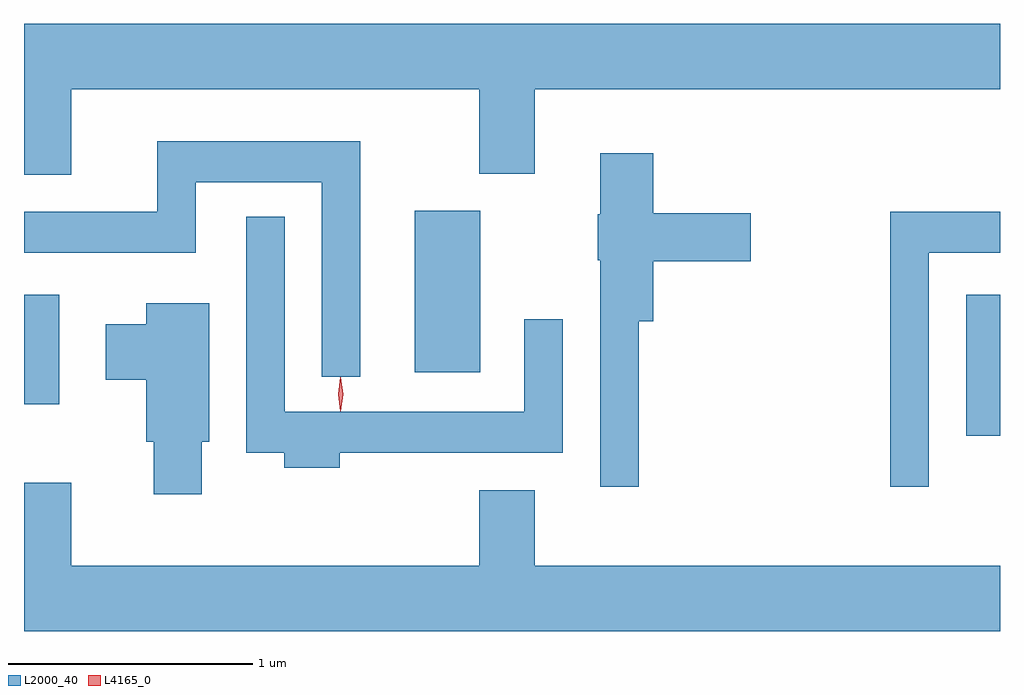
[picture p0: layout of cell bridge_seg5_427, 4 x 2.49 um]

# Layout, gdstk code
import gdstk
lib = gdstk.Library(unit=1e-6, precision=1e-09)
def R(c, l, rs):  # rectangles x0, y0, x1, y1
    for r in rs: c.add(gdstk.rectangle(r[:2], r[2:], *l))
def P(c, l, *ps):  # polygons
    for p in ps: c.add(gdstk.Polygon(p, *l))
L2000_40 = (2000, 40)
L4165_0 = (4165, 0)

bridge_seg5_427 = lib.new_cell('bridge_seg5_427')
R(bridge_seg5_427, L2000_40, [(386.976,1490.896,387.115,1491.474), (383.115,1491.026,383.259,1491.474), (384.716,1491.156,384.984,1491.819)])
P(bridge_seg5_427, L2000_40, [(383.309,1492.316),(384.981,1492.316),(384.981,1491.971),(385.209,1491.971),(385.209,1492.316),(387.115,1492.316),(387.115,1492.584),(383.115,1492.584),(383.115,1491.966),(383.309,1491.966)],
  [(384.494,1492.104),(383.661,1492.104),(383.661,1491.814),(383.115,1491.814),(383.115,1491.646),(383.819,1491.646),(383.819,1491.936),(384.336,1491.936),(384.336,1491.138),(384.494,1491.138)],
  [(385.634,1491.366),(385.694,1491.366),(385.694,1491.611),(386.094,1491.611),(386.094,1491.809),(385.694,1491.809),(385.694,1492.054),(385.476,1492.054),(385.476,1491.805),(385.466,1491.805),(385.466,1491.615),(385.476,1491.615),(385.476,1490.688),(385.634,1490.688)],
  [(386.824,1491.646),(387.115,1491.646),(387.115,1491.814),(386.666,1491.814),(386.666,1490.688),(386.824,1490.688)],
  [(384.409,1490.826),(385.324,1490.826),(385.324,1491.373),(385.166,1491.373),(385.166,1490.994),(384.184,1490.994),(384.184,1491.793),(384.026,1491.793),(384.026,1490.826),(384.181,1490.826),(384.181,1490.766),(384.409,1490.766)],
  [(383.844,1490.871),(383.874,1490.871),(383.874,1491.439),(383.616,1491.439),(383.616,1491.354),(383.451,1491.354),(383.451,1491.126),(383.616,1491.126),(383.616,1490.871),(383.646,1490.871),(383.646,1490.656),(383.844,1490.656)],
  [(387.115,1490.364),(385.209,1490.364),(385.209,1490.674),(384.981,1490.674),(384.981,1490.364),(383.309,1490.364),(383.309,1490.704),(383.115,1490.704),(383.115,1490.096),(387.115,1490.096)])
P(bridge_seg5_427, L4165_0, [(384.412,1490.997),(384.403,1491.067),(384.412,1491.136),(384.413,1491.136),(384.413,1491.136),(384.423,1491.067),(384.413,1490.997),(384.413,1490.997)])

lib.write_gds('bridge_seg5_427.gds')
